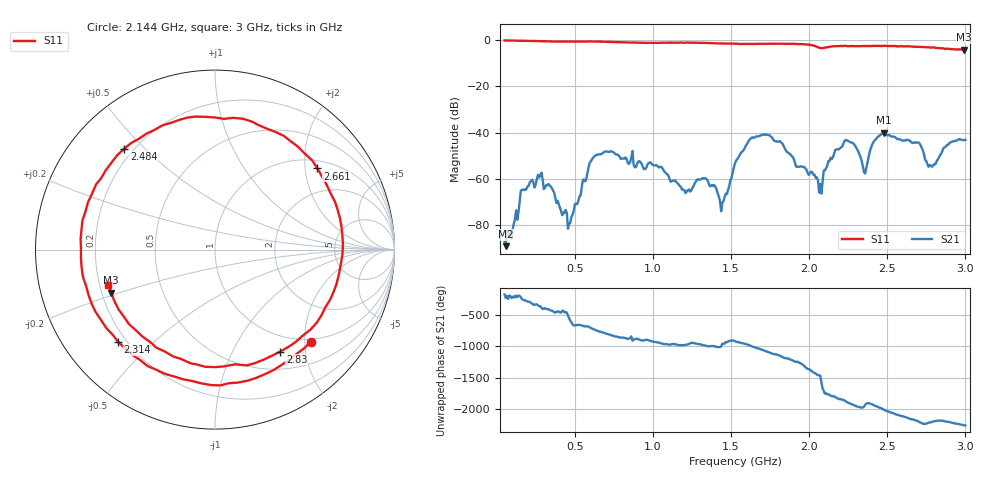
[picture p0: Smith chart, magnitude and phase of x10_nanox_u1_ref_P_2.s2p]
! nanovna_capture.py 2026-10-18T20:58:16+0900
! NanoVNA-F_V2 fw 0.6.0 SN 4A3639384505514B
! cal: load open short thru cal'ed  over 50000000-3000000000 Hz, 201 points
! points 401, avg 4
! S21: port1 = green ~10 mm H loop (flat, tape), port2 = GSM antenna; genuine Nano X u1 at position P (P = user-found best placement), placement 2
# HZ S RI R 50
! S12 and S22 are not measured (written as 0)
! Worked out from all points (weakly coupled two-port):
!   401 points, 50 MHz to 3 GHz, reference 50 ohm
!   highest |S21| = -40.04 dB at 2.476 GHz (marker M1); lowest = -89.2 dB at 57.38 MHz (marker M2)
!   lowest |S11| = -4.1 dB at 2.993 GHz (marker M3), VSWR 4.35, Z = 11.9 - j9.45 ohm
!   |S11| at or under -10 dB: nowhere
!   S12 and S22 are empty: the file has one direction only
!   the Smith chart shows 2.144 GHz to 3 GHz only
!   S11 on the Smith chart (normalised r, x): 2.144 GHz: 0.94, -2.14; 2.314 GHz: 0.17, -0.39; 2.484 GHz: 0.17, +0.44; 2.661 GHz: 1.21, +2.33; 2.83 GHz: 0.75, -1.56; 3 GHz: 0.24, -0.15
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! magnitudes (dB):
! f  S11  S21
! 50 MHz  -0.1  -87.3
! 57.38 MHz  -0.1  -89.2
! 271.2 MHz  -0.4  -59.4
! 470.4 MHz  -0.6  -79.1
! 544.1 MHz  -0.5  -63.5
! 691.6 MHz  -0.6  -48.2
! 1.038 GHz  -1.1  -55.1
! 1.444 GHz  -1.4  -70.4
! 1.525 GHz  -1.5  -53.3
! 1.732 GHz  -1.5  -40.9
! 2.019 GHz  -2.2  -57.1
! 2.071 GHz  -3.4  -62.2
! 2.144 GHz  -2.6  -51.5
! 2.314 GHz  -2.5  -48.2
! 2.358 GHz  -2.5  -57.7
! 2.476 GHz  -2.4  -40.0
! 2.484 GHz  -2.4  -40.5
! 2.513 GHz  -2.5  -41.1
! 2.661 GHz  -2.8  -44.5
! 2.83 GHz  -3.4  -50.9
! 2.993 GHz  -4.1  -43.2
! 3 GHz  -4.1  -43.2
